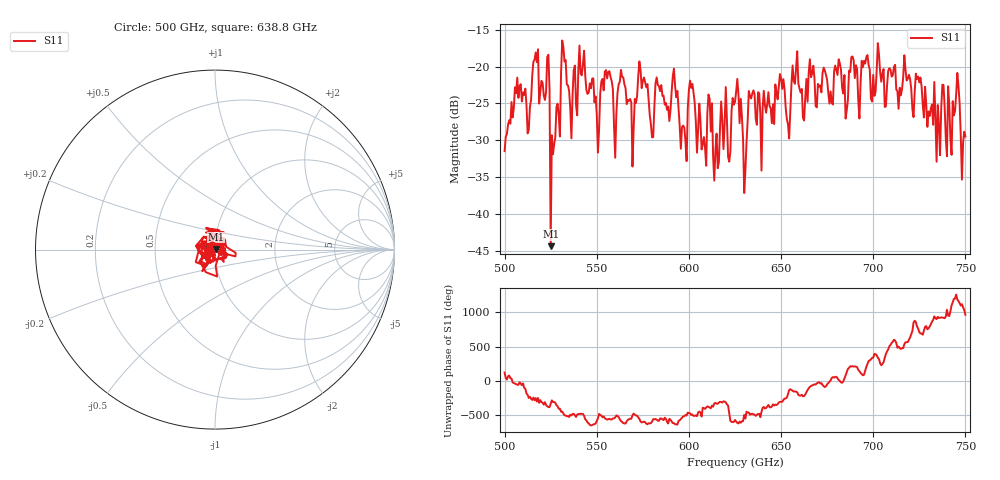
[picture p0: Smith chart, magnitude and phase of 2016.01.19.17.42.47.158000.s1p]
!Created with skrf (http://scikit-rf.org).
# GHz S RI R 50.0
!freq ReS11 ImS11
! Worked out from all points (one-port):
!   401 points, 500 GHz to 750 GHz, reference 50 ohm
!   lowest |S11| = -44.4 dB at 525 GHz (marker M1), VSWR 1.01, Z = 50.5 + j0.298 ohm
!   |S11| at or under -10 dB: start of sweep to end of sweep
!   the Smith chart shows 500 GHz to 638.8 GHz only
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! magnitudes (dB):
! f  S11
! 500 GHz  -31.5
! 506.9 GHz  -21.5
! 513.1 GHz  -28.6
! 516.9 GHz  -18.1
! 523.1 GHz  -18.7
! 525 GHz  -44.4
! 526.2 GHz  -31.9
! 531.2 GHz  -16.5
! 535.6 GHz  -25.7
! 541.9 GHz  -21.2
! 550 GHz  -26.5
! 562.5 GHz  -22.1
! 568.8 GHz  -24.9
! 593.8 GHz  -23.3
! 597.5 GHz  -28.3
! 601.2 GHz  -22.9
! 608.1 GHz  -29.6
! 611.2 GHz  -24.4
! 615 GHz  -29.1
! 625 GHz  -24.8
! 630.6 GHz  -34.2
! 633.8 GHz  -24.3
! 656.2 GHz  -19.9
! 687.5 GHz  -20.7
! 718.8 GHz  -21.7
! 735 GHz  -25.2
! 745.6 GHz  -20.9
! 750 GHz  -29.5
